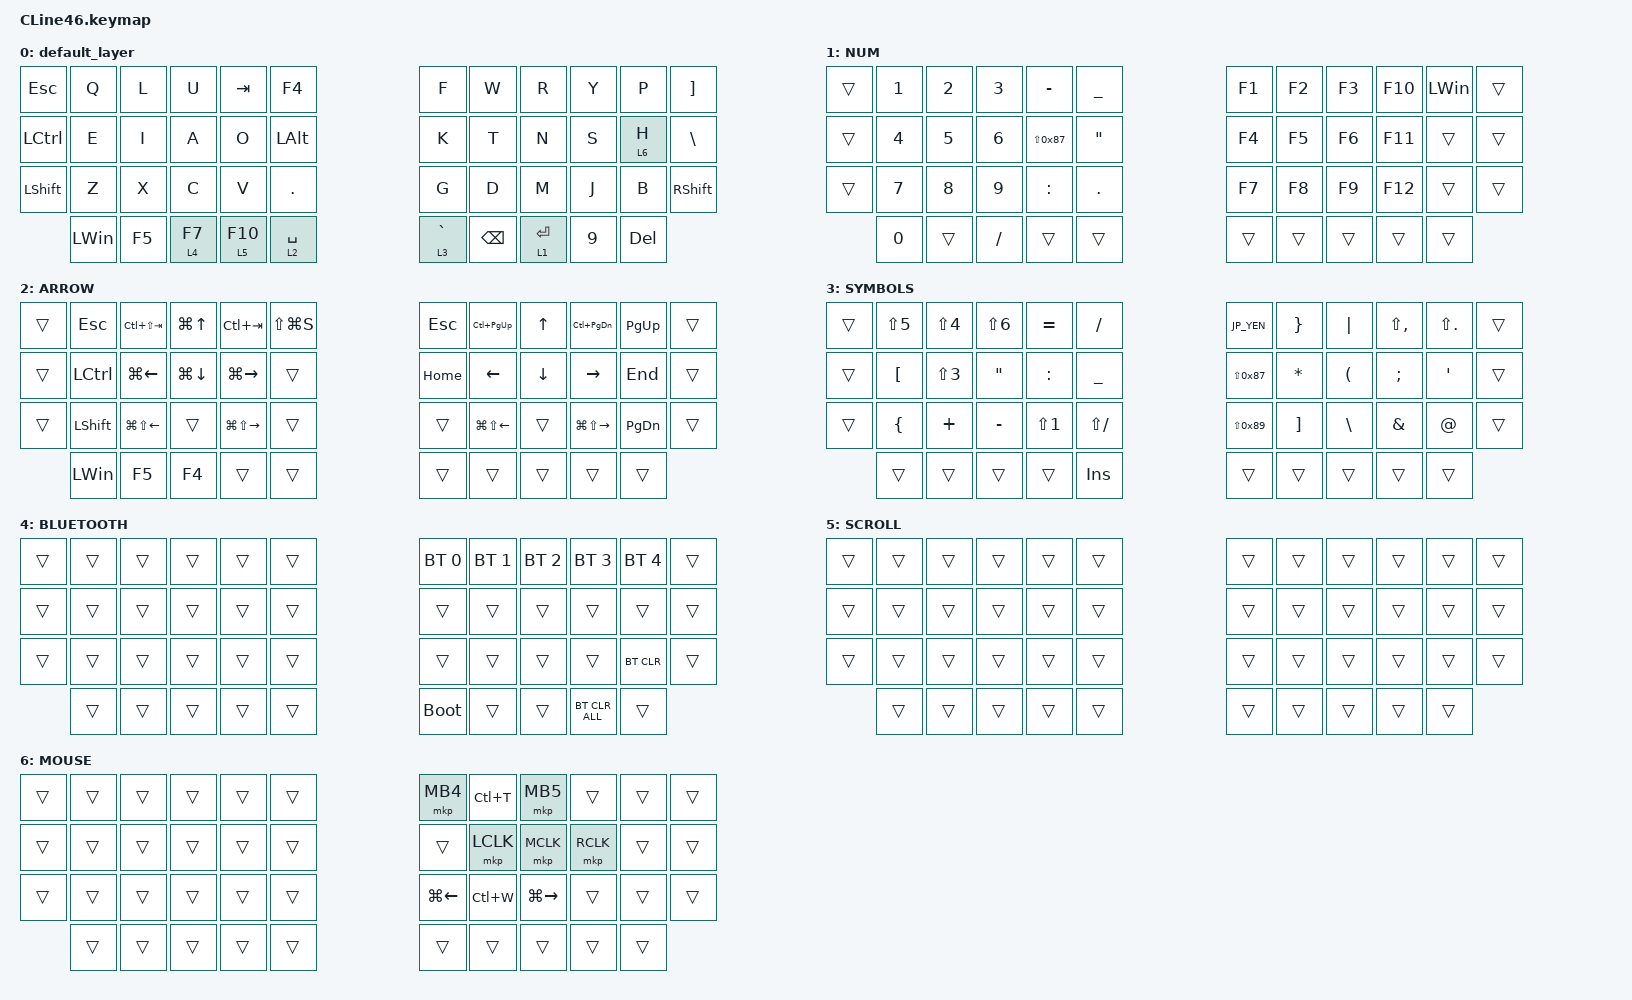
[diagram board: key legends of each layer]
#include <behaviors.dtsi>
#include <dt-bindings/zmk/bt.h>
#include <dt-bindings/zmk/keys.h>
#include <dt-bindings/zmk/pointing.h>

#define ZMK_POINTING_DEFAULT_SCRL_VAL 45

// OS設定を日本語キーボードのまま使用するための変換定義

#define JP_MINUS        MINUS             // -
#define JP_SLASH        SLASH             // /
#define JP_LT           LS(COMMA)         // <
#define JP_GT           LS(DOT)           // >
#define JP_EXCL         LS(N1)            // !
#define JP_HASH         LS(N3)            // #
#define JP_DOLLAR       LS(N4)            // $
#define JP_PERCENT      LS(N5)            // %
#define JP_AMP          LS(N6)            // &
#define JP_SEMICOLON    SEMICOLON         // ;
#define JP_DQUOTE       AT                // "
#define JP_AMPERSAND    CARET             // &
#define JP_QUOTE        AMPERSAND         // '
#define JP_EQUAL        UNDER             // =
#define JP_CARET        EQUAL             // ^
#define JP_YEN          0x89              // ¥
#define JP_PLUS         COLON             // +
#define JP_TILDE        PLUS              // ~
#define JP_PIPE         LS(0x89)          // |
#define JP_AT           LEFT_BRACKET      // @
#define JP_COLON        SINGLE_QUOTE      // :
#define JP_ASTERISK     DOUBLE_QUOTES     // *
#define JP_BACKQUOTE    LEFT_BRACE        // `
#define JP_UNDERSCORE   LS(0x87)          // _
#define JP_LBRACKET     RIGHT_BRACKET     // [
#define JP_RBRACKET     BACKSLASH         // ]
#define JP_LPAREN       ASTERISK          // (
#define JP_RPAREN       LEFT_PARENTHESIS  // )
#define JP_LBRACE       RIGHT_BRACE       // {
#define JP_RBRACE       PIPE              // }
#define JP_KANA         LANGUAGE_1        // かな
#define JP_EISU         LANGUAGE_2        // 英数
#define JP_HANZEN       GRAVE             // 半角/全角
#define JP_QUESTION     LS(SLASH)         // ?

&mt {
    flavor = "balanced";
    quick-tap-ms = <175>;
    require-prior-idle-ms = <150>;
};

/ {
    combos {
        compatible = "zmk,combos";

        combo_shift_enter {
            timeout-ms = <100>;
            key-positions = <26 44>;
            bindings = <&kp LS(ENTER)>;
        };
    };

    macros {
        to_layer_0: to_layer_0 {
            compatible = "zmk,behavior-macro-one-param";
            #binding-cells = <1>;
            bindings = <&to 0 &macro_param_1to1 &kp MACRO_PLACEHOLDER>;
            label = "TO_LAYER_0";
        };
    };

    behaviors {
        lt_to_layer_0: lt_to_layer_0 {
            compatible = "zmk,behavior-hold-tap";
            label = "LAYER_TAP_TO_0";
            bindings = <&mo>, <&to_layer_0>;

            #binding-cells = <2>;
            tapping-term-ms = <200>;
        };

        mt_z: mt_z {
            compatible = "zmk,behavior-hold-tap";
            #binding-cells = <2>;
            flavor = "tap-preferred";
            tapping-term-ms = <200>;
            quick-tap-ms = <175>;
            require-prior-idle-ms = <150>;
            bindings = <&kp>, <&kp>;

            label = "MT_Z";
        };

        lt_fast: lt_fast {
            compatible = "zmk,behavior-hold-tap";
            #binding-cells = <2>;
            flavor = "balanced";
            tapping-term-ms = <200>;
            quick-tap-ms = <175>;
            bindings = <&mo>, <&kp>;

            label = "LT_FAST";
        };

        lt_scroll: lt_scroll {
            compatible = "zmk,behavior-hold-tap";
            #binding-cells = <2>;
            flavor = "balanced";
            tapping-term-ms = <130>;
            quick-tap-ms = <175>;
            bindings = <&mo>, <&kp>;

            label = "LT_SCROLL";
        };

        lt_h: lt_h {
            compatible = "zmk,behavior-hold-tap";
            #binding-cells = <2>;
            flavor = "balanced";
            tapping-term-ms = <200>;
            quick-tap-ms = <175>;
            require-prior-idle-ms = <150>;
            bindings = <&mo>, <&kp>;

            label = "LT_H";
        };
    };

    keymap {
        compatible = "zmk,keymap";

        default_layer {
            bindings = <
&kp ESCAPE  &kp Q         &kp L   &kp U     &kp TAB           &kp F4                                                   &kp F             &kp W  &kp R  &kp Y         &kp P      &kp JP_LBRACKET
&kp LCTRL   &kp E         &kp I   &kp A     &kp O             &kp LEFT_ALT                                             &kp K             &kp T  &kp N  &kp S         &lt_h 6 H  &kp JP_RBRACKET
&kp LSHIFT  &kp Z         &kp X   &kp C     &kp V             &kp PERIOD                                               &kp G             &kp D  &kp M  &kp J         &kp B      &kp RSHIFT
            &kp LEFT_WIN  &kp F5  &lt 4 F7  &lt_scroll 5 F10  &lt_fast 2 SPACE  &lt_fast 3 JP_HANZEN    &kp BACKSPACE  &lt_fast 1 ENTER                &kp NUMBER_9  &kp DEL
            >;
        };

        NUM {
            bindings = <
&trans  &kp NUMBER_1  &kp NUMBER_2  &kp NUMBER_3  &kp JP_MINUS       &kp JP_EQUAL                       &kp F1  &kp F2  &kp F3  &kp F10  &kp LEFT_WIN  &trans
&trans  &kp NUMBER_4  &kp N5        &kp NUMBER_6  &kp JP_UNDERSCORE  &kp JP_ASTERISK                    &kp F4  &kp F5  &kp F6  &kp F11  &trans        &trans
&trans  &kp NUMBER_7  &kp NUMBER_8  &kp NUMBER_9  &kp JP_PLUS        &kp PERIOD                         &kp F7  &kp F8  &kp F9  &kp F12  &trans        &trans
        &kp N0        &trans        &kp JP_SLASH  &trans             &trans           &trans    &trans  &trans                  &trans   &trans
            >;
        };

        ARROW {
            bindings = <
&trans  &kp ESCAPE      &kp LC(LS(TAB))         &kp LG(UP_ARROW)    &kp LC(TAB)              &kp LS(LG(S))                    &kp ESCAPE  &kp LC(PAGE_UP)         &kp UP_ARROW  &kp LC(PAGE_DOWN)        &kp PAGE_UP    &trans
&trans  &kp LCTRL       &kp LG(LEFT_ARROW)      &kp LG(DOWN_ARROW)  &kp LG(RIGHT_ARROW)      &trans                           &kp HOME    &kp LEFT                &kp DOWN      &kp RIGHT                &kp END        &trans
&trans  &kp LEFT_SHIFT  &kp LG(LS(LEFT_ARROW))  &trans              &kp LG(LS(RIGHT_ARROW))  &trans                           &trans      &kp LG(LS(LEFT_ARROW))  &trans        &kp LG(LS(RIGHT_ARROW))  &kp PAGE_DOWN  &trans
        &kp LEFT_WIN    &kp F5                  &kp F4              &trans                   &trans         &trans    &trans  &trans                                            &trans                   &trans
            >;
        };

        SYMBOLS {
            bindings = <
&trans  &kp JP_PERCENT    &kp JP_DOLLAR  &kp JP_AMP       &kp JP_CARET  &kp JP_SLASH                       &kp JP_YEN         &kp JP_LBRACE    &kp JP_RBRACE    &kp JP_LT         &kp JP_GT      &trans
&trans  &kp JP_AT         &kp JP_HASH    &kp JP_ASTERISK  &kp JP_PLUS   &kp JP_EQUAL                       &kp JP_UNDERSCORE  &kp JP_LPAREN    &kp JP_RPAREN    &kp JP_SEMICOLON  &kp JP_COLON   &trans
&trans  &kp JP_BACKQUOTE  &kp JP_TILDE   &kp JP_MINUS     &kp JP_EXCL   &kp JP_QUESTION                    &kp JP_PIPE        &kp JP_LBRACKET  &kp JP_RBRACKET  &kp JP_QUOTE      &kp JP_DQUOTE  &trans
        &trans            &trans         &trans           &trans        &kp INSERT       &trans    &trans  &trans                                               &trans            &trans
            >;
        };

        BLUETOOTH {
            bindings = <
&trans  &trans  &trans  &trans  &trans  &trans                         &bt BT_SEL 0  &bt BT_SEL 1  &bt BT_SEL 2  &bt BT_SEL 3    &bt BT_SEL 4  &trans
&trans  &trans  &trans  &trans  &trans  &trans                         &trans        &trans        &trans        &trans          &trans        &trans
&trans  &trans  &trans  &trans  &trans  &trans                         &trans        &trans        &trans        &trans          &bt BT_CLR    &trans
        &trans  &trans  &trans  &trans  &trans  &bootloader    &trans  &trans                                    &bt BT_CLR_ALL  &trans
            >;
        };

        SCROLL {
            bindings = <
&trans  &trans  &trans  &trans  &trans  &trans                    &trans  &trans  &trans  &trans  &trans  &trans
&trans  &trans  &trans  &trans  &trans  &trans                    &trans  &trans  &trans  &trans  &trans  &trans
&trans  &trans  &trans  &trans  &trans  &trans                    &trans  &trans  &trans  &trans  &trans  &trans
        &trans  &trans  &trans  &trans  &trans  &trans    &trans  &trans                  &trans  &trans
            >;
        };

        MOUSE {
            bindings = <
&trans  &trans  &trans  &trans  &trans  &trans                    &mkp MB4            &kp LC(T)  &mkp MB5             &trans     &trans  &trans
&trans  &trans  &trans  &trans  &trans  &trans                    &trans              &mkp LCLK  &mkp MCLK            &mkp RCLK  &trans  &trans
&trans  &trans  &trans  &trans  &trans  &trans                    &kp LG(LEFT_ARROW)  &kp LC(W)  &kp LG(RIGHT_ARROW)  &trans     &trans  &trans
        &trans  &trans  &trans  &trans  &trans  &trans    &trans  &trans                                              &trans     &trans
            >;
        };
    };
};
